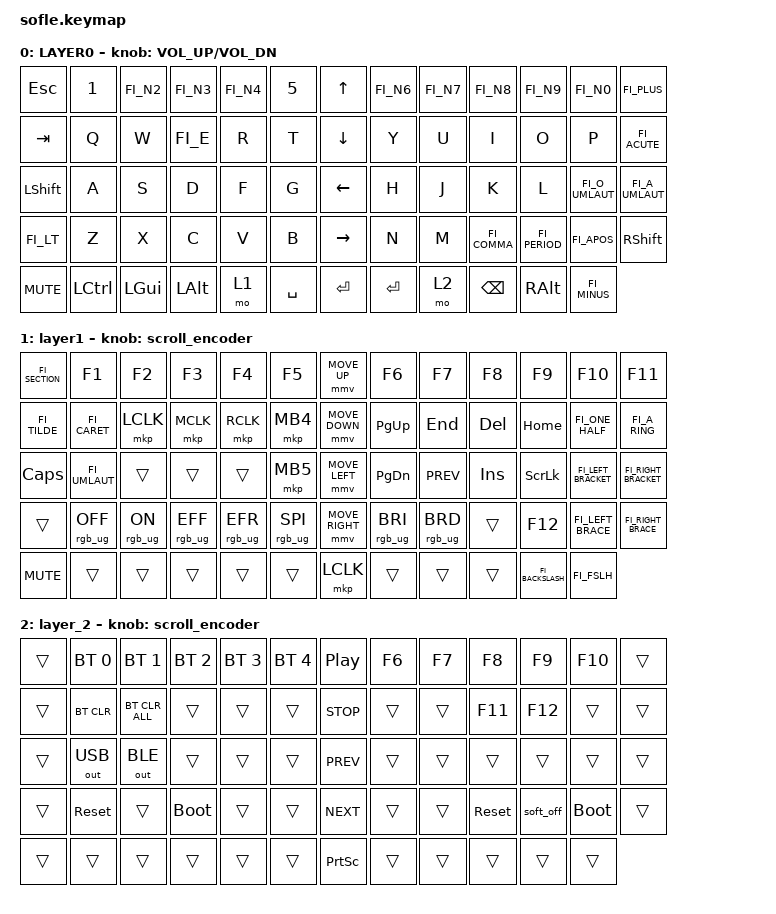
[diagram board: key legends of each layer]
#include <behaviors/mouse_keys.dtsi>
#include "keys_fi.h"
#include <behaviors.dtsi>
#include <dt-bindings/zmk/bt.h>
#include <dt-bindings/zmk/keys.h>
#include <dt-bindings/zmk/mouse.h>
#include <dt-bindings/zmk/outputs.h>
#include <dt-bindings/zmk/rgb.h>

#define ZMK_MOUSE_DEFAULT_MOVE_VAL 1200  // 600
#define ZMK_MOUSE_DEFAULT_SCRL_VAL 20    // 10
#define U_MS_U &mmv MOVE_UP
#define U_MS_D &mmv MOVE_DOWN
#define U_MS_L &mmv MOVE_LEFT
#define U_MS_R &mmv MOVE_RIGHT
#define ZMK_MOUSE_DEFAULT_MOVE_VAL 1200  //  600
#define ZMK_MOUSE_DEFAULT_SCRL_VAL 20    // 10

/ {
    behaviors {
        mmv {
            acceleration-exponent = <1>;      // 1
            time-to-max-speed-ms = <900>;    // 40
            delay-ms = <0>;                   // 0
        };

        msc {
            acceleration-exponent = <1>;      // 0
            time-to-max-speed-ms = <400>;      // 500
            delay-ms = <0>;                   //   10
        };
    };

    scroll_encoder: scroll_encoder {
        compatible = "zmk,behavior-sensor-rotate";
        #sensor-binding-cells = <0>;
        bindings = <&msc SCRL_DOWN>, <&msc SCRL_UP>;

        tap-ms = <30>;
    };

    keymap {
        compatible = "zmk,keymap";

        layer0 {
            bindings = <
&kp ESC         &kp NUMBER_1  &kp FI_N2     &kp FI_N3     &kp FI_N4  &kp N5       &kp UP_ARROW     &kp FI_N6  &kp FI_N7  &kp FI_N8      &kp FI_N9      &kp FI_N0        &kp FI_PLUS
&kp TAB         &kp Q         &kp W         &kp FI_E      &kp R      &kp T        &kp DOWN_ARROW   &kp Y      &kp U      &kp I          &kp O          &kp P            &kp FI_ACUTE
&kp LEFT_SHIFT  &kp A         &kp S         &kp D         &kp F      &kp G        &kp LEFT_ARROW   &kp H      &kp J      &kp K          &kp L          &kp FI_O_UMLAUT  &kp FI_A_UMLAUT
&kp FI_LT       &kp Z         &kp X         &kp C         &kp V      &kp B        &kp RIGHT_ARROW  &kp N      &kp M      &kp FI_COMMA   &kp FI_PERIOD  &kp FI_APOS      &kp RIGHT_SHIFT
&kp C_MUTE      &kp LCTRL     &kp LEFT_GUI  &kp LEFT_ALT  &mo 1      &kp SPACE    &kp ENTER        &kp ENTER  &mo 2      &kp BACKSPACE  &kp RIGHT_ALT  &kp FI_MINUS
            >;

            sensor-bindings = <&inc_dec_kp C_VOLUME_UP C_VOL_DN>;
            display-name = "LAYER0";
        };

        layer_1 {
            bindings = <
&kp FI_SECTION  &kp F1           &kp F2          &kp F3           &kp F4           &kp F5             &mmv MOVE_UP     &kp F6           &kp F7           &kp F8   &kp F9            &kp F10              &kp F11
&kp FI_TILDE    &kp FI_CARET     &mkp LCLK       &mkp MCLK        &mkp RCLK        &mkp MB4           &mmv MOVE_DOWN   &kp PG_UP        &kp END          &kp DEL  &kp HOME          &kp FI_ONE_HALF      &kp FI_A_RING
&kp CAPS        &kp FI_UMLAUT    &trans          &trans           &trans           &mkp MB5           &mmv MOVE_LEFT   &kp PG_DN        &kp C_PREV       &kp INS  &kp SLCK          &kp FI_LEFT_BRACKET  &kp FI_RIGHT_BRACKET
&trans          &rgb_ug RGB_OFF  &rgb_ug RGB_ON  &rgb_ug RGB_EFF  &rgb_ug RGB_EFR  &rgb_ug RGB_SPI    &mmv MOVE_RIGHT  &rgb_ug RGB_BRI  &rgb_ug RGB_BRD  &trans   &kp F12           &kp FI_LEFT_BRACE    &kp FI_RIGHT_BRACE
&kp C_MUTE      &trans           &trans          &trans           &trans           &trans             &mkp LCLK        &trans           &trans           &trans   &kp FI_BACKSLASH  &kp FI_FSLH
            >;

            display-name = "layer1";
            sensor-bindings = <&scroll_encoder>;
        };

        layer_2 {
            bindings = <
&trans  &bt BT_SEL 0  &bt BT_SEL 1    &bt BT_SEL 2  &bt BT_SEL 3  &bt BT_SEL 4    &kp C_PLAY_PAUSE  &kp F6  &kp F7  &kp F8      &kp F9     &kp F10      &trans
&trans  &bt BT_CLR    &bt BT_CLR_ALL  &trans        &trans        &trans          &kp C_STOP        &trans  &trans  &kp F11     &kp F12    &trans       &trans
&trans  &out OUT_USB  &out OUT_BLE    &trans        &trans        &trans          &kp C_PREV        &trans  &trans  &trans      &trans     &trans       &trans
&trans  &sys_reset    &trans          &bootloader   &trans        &trans          &kp C_NEXT        &trans  &trans  &sys_reset  &soft_off  &bootloader  &trans
&trans  &trans        &trans          &trans        &trans        &trans          &kp PSCRN         &trans  &trans  &trans      &trans     &trans
            >;

            sensor-bindings = <&scroll_encoder>;
        };
    };
};
